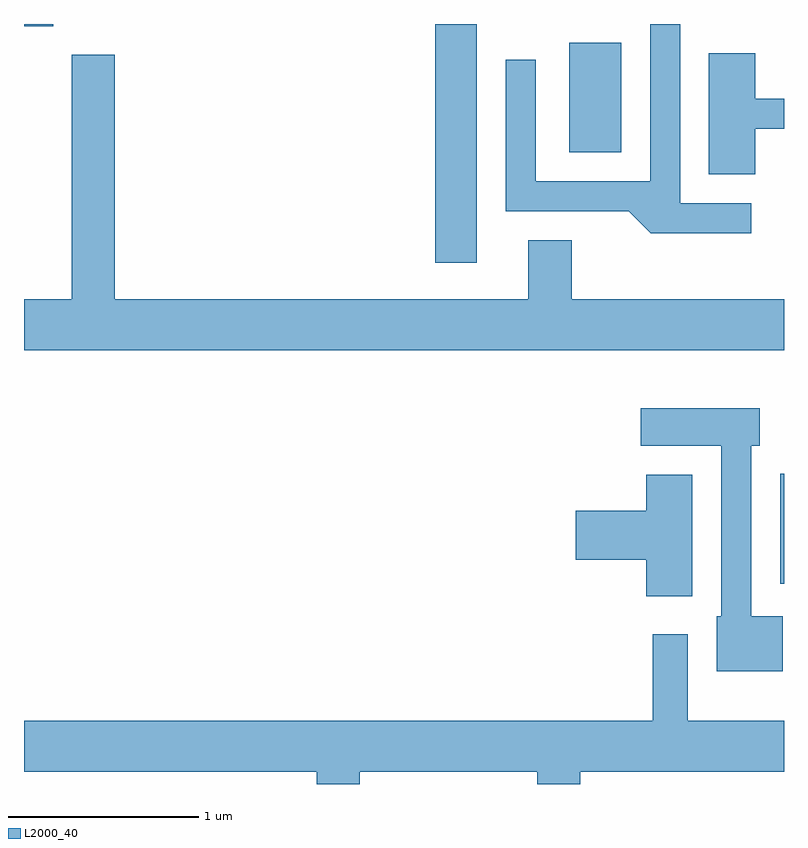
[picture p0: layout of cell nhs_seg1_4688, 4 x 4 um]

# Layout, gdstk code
import gdstk
lib = gdstk.Library(unit=1e-6, precision=1e-09)
def R(c, l, rs):  # rectangles x0, y0, x1, y1
    for r in rs: c.add(gdstk.rectangle(r[:2], r[2:], *l))
def P(c, l, *ps):  # polygons
    for p in ps: c.add(gdstk.Polygon(p, *l))
L2000_40 = (2000, 40)

nhs_seg1_4688 = lib.new_cell('nhs_seg1_4688')
R(nhs_seg1_4688, L2000_40, [(329.591,922.766,329.611,923.344), (327.776,924.456,327.994,925.712), (328.481,925.036,328.754,925.614), (325.611,925.701,325.764,925.712)])
P(nhs_seg1_4688, L2000_40, [(329.438,924.769),(329.064,924.769),(329.064,925.712),(328.906,925.712),(328.906,924.884),(328.304,924.884),(328.304,925.523),(328.146,925.523),(328.146,924.726),(328.794,924.726),(328.909,924.611),(329.438,924.611)],
  [(329.459,925.161),(329.611,925.161),(329.611,925.319),(329.459,925.319),(329.459,925.559),(329.216,925.559),(329.216,924.921),(329.459,924.921)],
  [(329.611,924.264),(328.494,924.264),(328.494,924.574),(328.266,924.574),(328.266,924.264),(326.089,924.264),(326.089,925.549),(325.861,925.549),(325.861,924.264),(325.611,924.264),(325.611,923.996),(329.611,923.996)],
  [(329.604,922.594),(329.439,922.594),(329.439,923.491),(329.484,923.491),(329.484,923.689),(328.856,923.689),(328.856,923.491),(329.281,923.491),(329.281,922.594),(329.256,922.594),(329.256,922.306),(329.604,922.306)],
  [(329.129,923.339),(328.886,923.339),(328.886,923.149),(328.516,923.149),(328.516,922.891),(328.886,922.891),(328.886,922.701),(329.129,922.701)],
  [(327.379,921.776),(328.311,921.776),(328.311,921.712),(328.539,921.712),(328.539,921.776),(329.611,921.776),(329.611,922.044),(329.104,922.044),(329.104,922.499),(328.921,922.499),(328.921,922.044),(325.611,922.044),(325.611,921.776),(327.151,921.776),(327.151,921.712),(327.379,921.712)])

lib.write_gds('nhs_seg1_4688.gds')
